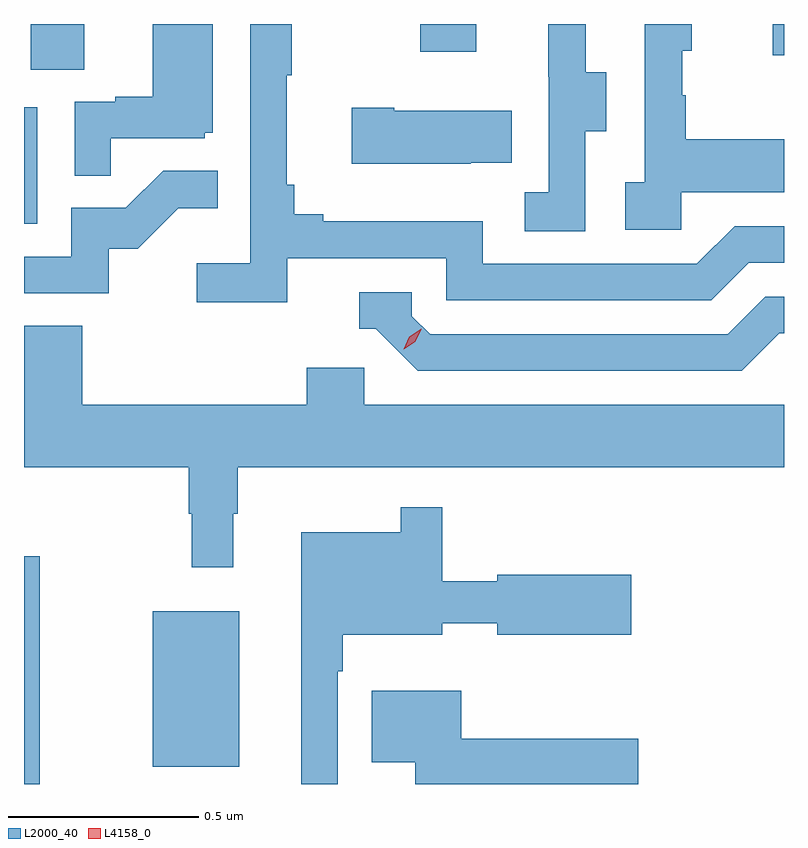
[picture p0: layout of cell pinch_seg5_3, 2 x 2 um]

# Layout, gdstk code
import gdstk
lib = gdstk.Library(unit=1e-6, precision=1e-09)
def R(c, l, rs):  # rectangles x0, y0, x1, y1
    for r in rs: c.add(gdstk.rectangle(r[:2], r[2:], *l))
def P(c, l, *ps):  # polygons
    for p in ps: c.add(gdstk.Polygon(p, *l))
L2000_40 = (2000, 40)
L4158_0 = (4158, 0)

pinch_seg5_3 = lib.new_cell('pinch_seg5_3')
R(pinch_seg5_3, L2000_40, [(1133.591,902.546,1133.632,903.145), (1133.93,902.591,1134.157,903.001), (1133.591,904.02,1133.626,904.327), (1133.609,904.426,1133.749,904.546), (1135.562,904.464,1135.591,904.546), (1134.634,904.473,1134.781,904.546)])
P(pinch_seg5_3, L2000_40, [(1133.819,904.245),(1134.066,904.245),(1134.066,904.26),(1134.088,904.26),(1134.088,904.546),(1133.93,904.546),(1133.93,904.354),(1133.831,904.354),(1133.831,904.341),(1133.724,904.341),(1133.724,904.147),(1133.819,904.147)],
  [(1135.068,904.264),(1135.123,904.264),(1135.123,904.419),(1135.069,904.419),(1135.069,904.546),(1134.971,904.546),(1134.971,904.407),(1134.972,904.407),(1134.972,904.103),(1134.909,904.103),(1134.909,904),(1135.068,904)],
  [(1134.284,903.93),(1134.702,903.93),(1134.702,903.819),(1135.399,903.819),(1135.498,903.918),(1135.591,903.918),(1135.591,904.014),(1135.461,904.014),(1135.362,903.915),(1134.798,903.915),(1134.798,904.027),(1134.379,904.027),(1134.379,904.046),(1134.302,904.046),(1134.302,904.123),(1134.283,904.123),(1134.283,904.411),(1134.295,904.411),(1134.295,904.546),(1134.186,904.546),(1134.186,903.916),(1134.045,903.916),(1134.045,903.814),(1134.284,903.814)],
  [(1135.32,904.103),(1135.591,904.103),(1135.591,904.243),(1135.333,904.243),(1135.333,904.358),(1135.323,904.358),(1135.323,904.476),(1135.348,904.476),(1135.348,904.546),(1135.224,904.546),(1135.224,904.13),(1135.173,904.13),(1135.173,904.005),(1135.32,904.005)],
  [(1134.767,904.181),(1134.875,904.181),(1134.875,904.318),(1134.565,904.318),(1134.565,904.326),(1134.453,904.326),(1134.453,904.178),(1134.767,904.178)],
  [(1133.814,903.954),(1133.89,903.954),(1133.997,904.061),(1134.101,904.061),(1134.101,904.16),(1133.957,904.16),(1133.859,904.062),(1133.715,904.062),(1133.715,903.933),(1133.591,903.933),(1133.591,903.837),(1133.814,903.837)],
  [(1135.579,903.732),(1135.591,903.732),(1135.591,903.828),(1135.542,903.828),(1135.443,903.729),(1134.66,903.729),(1134.612,903.777),(1134.612,903.84),(1134.473,903.84),(1134.473,903.744),(1134.516,903.744),(1134.627,903.633),(1135.48,903.633)],
  [(1134.142,903.257),(1134.154,903.257),(1134.154,903.38),(1135.591,903.38),(1135.591,903.544),(1134.486,903.544),(1134.486,903.642),(1134.335,903.642),(1134.335,903.544),(1133.744,903.544),(1133.744,903.752),(1133.591,903.752),(1133.591,903.38),(1134.025,903.38),(1134.025,903.257),(1134.033,903.257),(1134.033,903.117),(1134.142,903.117)],
  [(1134.417,902.843),(1134.43,902.843),(1134.43,902.939),(1134.691,902.939),(1134.691,902.969),(1134.836,902.969),(1134.836,902.939),(1135.189,902.939),(1135.189,903.097),(1134.836,903.097),(1134.836,903.079),(1134.691,903.079),(1134.691,903.274),(1134.582,903.274),(1134.582,903.208),(1134.32,903.208),(1134.32,902.546),(1134.417,902.546)],
  [(1135.207,902.665),(1134.742,902.665),(1134.742,902.791),(1134.506,902.791),(1134.506,902.603),(1134.62,902.603),(1134.62,902.546),(1135.207,902.546)])
P(pinch_seg5_3, L4158_0, [(1134.59,903.69),(1134.59,903.69),(1134.605,903.723),(1134.636,903.744),(1134.636,903.744),(1134.636,903.743),(1134.62,903.71),(1134.59,903.69)])

lib.write_gds('pinch_seg5_3.gds')
